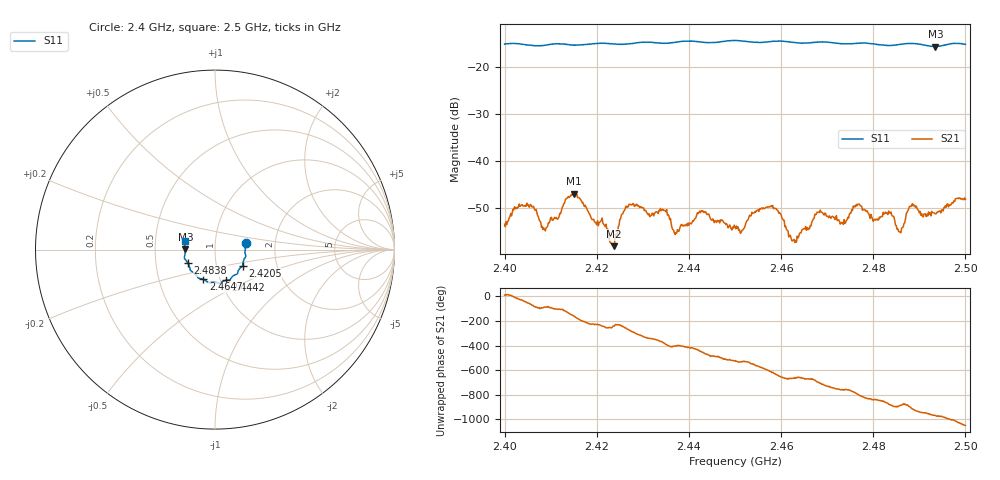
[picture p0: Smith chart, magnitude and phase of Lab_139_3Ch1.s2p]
# Hz S RI R 50
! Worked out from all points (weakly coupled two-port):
!   601 points, 2.4 GHz to 2.5 GHz, reference 50 ohm
!   highest |S21| = -46.89 dB at 2.415 GHz (marker M1); lowest = -58.0 dB at 2.4237 GHz (marker M2)
!   lowest |S11| = -15.7 dB at 2.4935 GHz (marker M3), VSWR 1.39, Z = 35.9 + j0.104 ohm
!   |S11| at or under -10 dB: start of sweep to end of sweep
!   S12 and S22 are empty: the file has one direction only
!   S11 on the Smith chart (normalised r, x): 2.4 GHz: 1.40, +0.11; 2.4205 GHz: 1.34, -0.25; 2.4442 GHz: 1.06, -0.37; 2.4647 GHz: 0.83, -0.29; 2.4838 GHz: 0.73, -0.11; 2.5 GHz: 0.71, +0.07
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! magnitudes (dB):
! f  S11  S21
! 2.4 GHz  -15.2  -53.3
! 2.4053 GHz  -15.4  -49.7
! 2.4088 GHz  -15.4  -54.7
! 2.415 GHz  -15.4  -46.9
! 2.4167 GHz  -15.3  -48.4
! 2.4205 GHz  -15.0  -53.0
! 2.4237 GHz  -15.1  -58.0
! 2.4268 GHz  -15.1  -49.6
! 2.4333 GHz  -14.9  -51.1
! 2.4373 GHz  -14.7  -55.2
! 2.4442 GHz  -14.9  -51.2
! 2.45 GHz  -14.4  -53.9
! 2.4577 GHz  -14.6  -49.6
! 2.4628 GHz  -14.8  -56.6
! 2.4647 GHz  -15.0  -54.4
! 2.4667 GHz  -14.8  -52.9
! 2.4833 GHz  -15.5  -50.5
! 2.4838 GHz  -15.5  -50.7
! 2.4857 GHz  -15.2  -54.9
! 2.4883 GHz  -15.0  -49.4
! 2.4935 GHz  -15.7  -51.1
! 2.5 GHz  -15.2  -48.1
